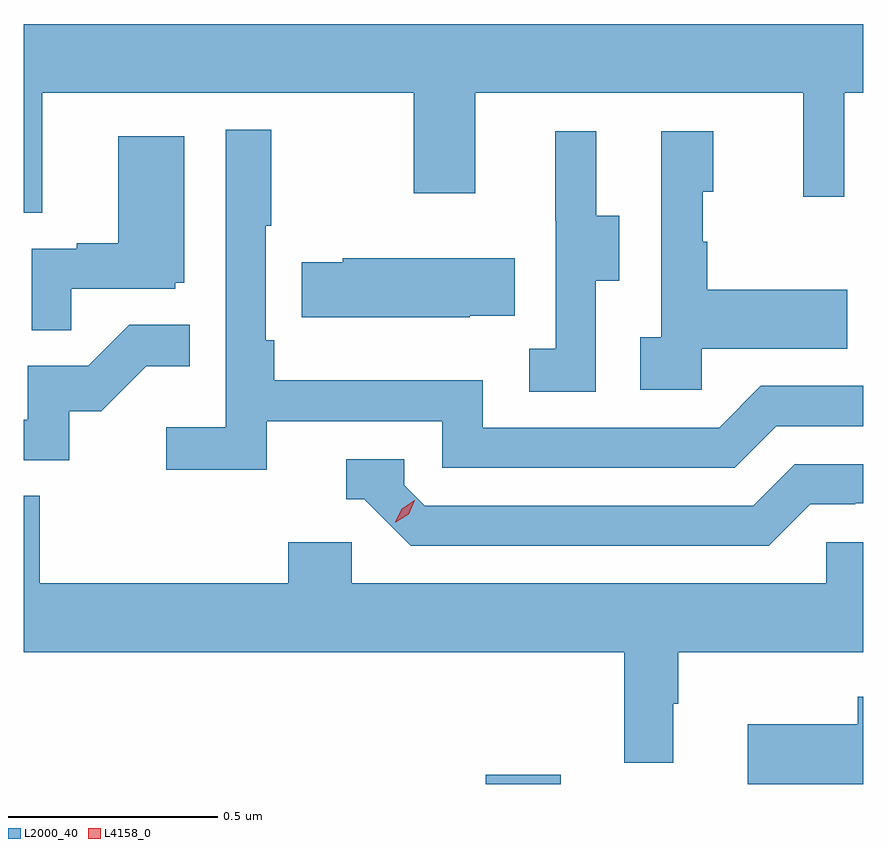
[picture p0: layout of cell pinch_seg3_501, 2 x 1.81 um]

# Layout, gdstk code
import gdstk
lib = gdstk.Library(unit=1e-6, precision=1e-09)
def R(c, l, rs):  # rectangles x0, y0, x1, y1
    for r in rs: c.add(gdstk.rectangle(r[:2], r[2:], *l))
def P(c, l, *ps):  # polygons
    for p in ps: c.add(gdstk.Polygon(p, *l))
L2000_40 = (2000, 40)
L4158_0 = (4158, 0)

pinch_seg3_501 = lib.new_cell('pinch_seg3_501')
R(pinch_seg3_501, L2000_40, [(972.302,671.298,972.48,671.32)])
P(pinch_seg3_501, L2000_40, [(971.245,672.944),(972.13,672.944),(972.13,672.705),(972.277,672.705),(972.277,672.944),(973.058,672.944),(973.058,672.696),(973.155,672.696),(973.155,672.944),(973.201,672.944),(973.201,673.108),(971.201,673.108),(971.201,672.658),(971.245,672.658)],
  [(971.78,672.162),(972.198,672.162),(972.198,672.051),(972.895,672.051),(972.994,672.15),(973.201,672.15),(973.201,672.246),(972.957,672.246),(972.858,672.147),(972.294,672.147),(972.294,672.259),(971.798,672.259),(971.798,672.355),(971.778,672.355),(971.778,672.628),(971.791,672.628),(971.791,672.856),(971.682,672.856),(971.682,672.148),(971.541,672.148),(971.541,672.046),(971.78,672.046)],
  [(972.816,672.335),(973.163,672.335),(973.163,672.475),(972.829,672.475),(972.829,672.59),(972.819,672.59),(972.819,672.708),(972.844,672.708),(972.844,672.853),(972.72,672.853),(972.72,672.362),(972.669,672.362),(972.669,672.237),(972.816,672.237)],
  [(972.564,672.496),(972.619,672.496),(972.619,672.651),(972.565,672.651),(972.565,672.853),(972.467,672.853),(972.467,672.639),(972.468,672.639),(972.468,672.335),(972.405,672.335),(972.405,672.232),(972.564,672.232)],
  [(971.315,672.477),(971.562,672.477),(971.562,672.492),(971.584,672.492),(971.584,672.841),(971.426,672.841),(971.426,672.586),(971.327,672.586),(971.327,672.573),(971.22,672.573),(971.22,672.379),(971.315,672.379)],
  [(972.263,672.413),(972.371,672.413),(972.371,672.55),(971.961,672.55),(971.961,672.54),(971.863,672.54),(971.863,672.41),(972.263,672.41)],
  [(971.31,672.186),(971.386,672.186),(971.493,672.293),(971.597,672.293),(971.597,672.392),(971.453,672.392),(971.355,672.294),(971.211,672.294),(971.211,672.165),(971.201,672.165),(971.201,672.069),(971.31,672.069)],
  [(973.075,671.964),(973.182,671.964),(973.182,671.967),(973.201,671.967),(973.201,672.06),(973.038,672.06),(972.939,671.961),(972.156,671.961),(972.108,672.009),(972.108,672.072),(971.969,672.072),(971.969,671.976),(972.012,671.976),(972.123,671.865),(972.976,671.865)],
  [(972.748,671.489),(972.76,671.489),(972.76,671.612),(973.201,671.612),(973.201,671.874),(973.113,671.874),(973.113,671.776),(971.982,671.776),(971.982,671.874),(971.831,671.874),(971.831,671.776),(971.24,671.776),(971.24,671.984),(971.201,671.984),(971.201,671.612),(972.631,671.612),(972.631,671.349),(972.748,671.349)],
  [(973.201,671.506),(973.188,671.506),(973.188,671.44),(972.926,671.44),(972.926,671.298),(973.201,671.298)])
P(pinch_seg3_501, L4158_0, [(972.086,671.921),(972.086,671.922),(972.102,671.954),(972.133,671.974),(972.133,671.974),(972.133,671.974),(972.118,671.941),(972.087,671.921)])

lib.write_gds('pinch_seg3_501.gds')
